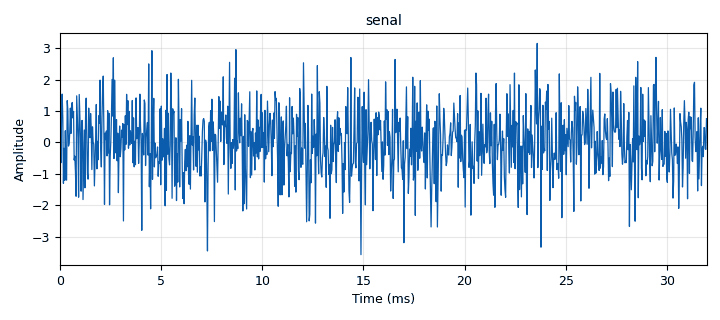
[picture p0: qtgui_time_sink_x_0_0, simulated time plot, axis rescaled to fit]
<?xml version='1.0' encoding='utf-8'?>
<?grc format='1' created='3.7.13'?>
<flow_graph>
<block>
<key>options</key>
<param><key>id</key><value>top_block</value></param>
<param><key>generate_options</key><value>qt_gui</value></param>
</block>
<block>
<key>variable</key>
<param><key>id</key><value>N</value></param>
<param><key>value</key><value>1024</value></param>
</block>
<block>
<key>variable</key>
<param><key>id</key><value>samp_rate</value></param>
<param><key>value</key><value>32000</value></param>
</block>
<block>
<key>analog_noise_source_x</key>
<param><key>id</key><value>analog_noise_source_x_0_0</value></param>
<param><key>amp</key><value>1</value></param>
<param><key>noise_type</key><value>analog.GR_GAUSSIAN</value></param>
<param><key>type</key><value>float</value></param>
<param><key>seed</key><value>0</value></param>
</block>
<block>
<key>b_cdf_ff</key>
<param><key>id</key><value>b_cdf_ff_0</value></param>
<param><key>EjeX</key><value>'potencia'</value></param>
<param><key>Xmax</key><value>4.</value></param>
<param><key>Xmin</key><value>-4.</value></param>
</block>
<block>
<key>b_pdf_cdf_ff</key>
<param><key>id</key><value>b_pdf_cdf_ff_0</value></param>
<param><key>EjeX</key><value>'potencia'</value></param>
<param><key>Xmax</key><value>4.</value></param>
<param><key>Xmin</key><value>-4.</value></param>
<param><key>pdf_max</key><value>0.4</value></param>
</block>
<block>
<key>b_pdf_ff</key>
<param><key>id</key><value>b_pdf_ff_0</value></param>
<param><key>EjeX</key><value>'potencia'</value></param>
<param><key>Xmax</key><value>4.</value></param>
<param><key>Xmin</key><value>-4.</value></param>
<param><key>pdf_max</key><value>0.4</value></param>
</block>
<block>
<key>qtgui_time_sink_x</key>
<param><key>id</key><value>qtgui_time_sink_x_0_0</value></param>
<param><key>color1</key><value>"blue"</value></param>
<param><key>label1</key><value></value></param>
<param><key>name</key><value>"senal"</value></param>
<param><key>size</key><value>1024</value></param>
<param><key>srate</key><value>samp_rate</value></param>
<param><key>type</key><value>float</value></param>
</block>
<connection><source_block_id>analog_noise_source_x_0_0</source_block_id><sink_block_id>b_cdf_ff_0</sink_block_id><source_key>0</source_key><sink_key>0</sink_key></connection>
<connection><source_block_id>analog_noise_source_x_0_0</source_block_id><sink_block_id>b_pdf_cdf_ff_0</sink_block_id><source_key>0</source_key><sink_key>0</sink_key></connection>
<connection><source_block_id>analog_noise_source_x_0_0</source_block_id><sink_block_id>b_pdf_ff_0</sink_block_id><source_key>0</source_key><sink_key>0</sink_key></connection>
<connection><source_block_id>analog_noise_source_x_0_0</source_block_id><sink_block_id>qtgui_time_sink_x_0_0</sink_block_id><source_key>0</source_key><sink_key>0</sink_key></connection>
</flow_graph>
